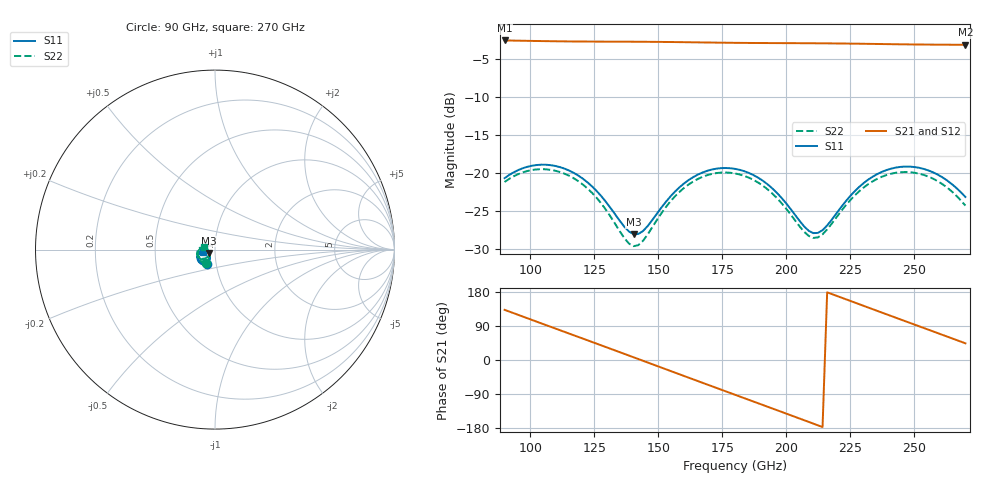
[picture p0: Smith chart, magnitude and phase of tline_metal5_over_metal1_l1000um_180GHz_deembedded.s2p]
! Created with skrf 2.0.1 (http://scikit-rf.org).
# GHz S DB R 50.0
!freq dBS11 angS11 dBS21 angS21 dBS12 angS12 dBS22 angS22
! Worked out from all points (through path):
!   101 points, 90 GHz to 270 GHz, reference 50 ohm
!   highest |S21| = -2.61 dB at 90 GHz (marker M1); lowest = -3.2 dB at 270 GHz (marker M2)
!   group delay of S21, straight-line fit = 6.92 ps
!   lowest |S11| = -28.1 dB at 140.4 GHz (marker M3), VSWR 1.08, Z = 46.6 - j1.75 ohm
!   |S11| at or under -10 dB: start of sweep to end of sweep
!   |S22| runs from -29.7 to -19.5 dB; largest |S21 - S12| = 8.4e-14
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90  -20.72 -117.4  -2.61 132.4  -2.61 132.4  -21.22 -123.3
97.2  -19.40 -129.2  -2.65 114.4  -2.65 114.4  -19.94 -136.2
104.4  -18.95 -142.2  -2.69 96.5  -2.69 96.5  -19.53 -150.2
111.6  -19.26 -155.0  -2.72 78.7  -2.72 78.7  -19.91 -164.0
120.6  -20.80 -168.9  -2.75 56.4  -2.75 56.4  -21.56 -179.2
131.4  -24.64 -175.1  -2.77 29.6  -2.77 29.6  -25.78 173.3
140.4  -28.08 -151.6  -2.78 7.1  -2.78 7.1  -29.66 -159.7
144  -27.69 -136.1  -2.78 -1.9  -2.78 -1.9  -28.98 -142.1
151.2  -24.61 -121.0  -2.80 -19.9  -2.80 -19.9  -25.35 -128.1
165.6  -20.23 -131.8  -2.86 -55.9  -2.86 -55.9  -20.80 -142.3
172.8  -19.47 -142.7  -2.89 -73.8  -2.89 -73.8  -20.05 -154.4
180  -19.49 -154.1  -2.92 -91.7  -2.92 -91.7  -20.10 -166.8
187.2  -20.31 -164.8  -2.94 -109.6  -2.94 -109.6  -20.94 -178.3
194.4  -22.01 -172.8  -2.95 -127.5  -2.95 -127.5  -22.68 172.9
203.4  -25.52 -172.0  -2.97 -149.9  -2.97 -149.9  -26.24 173.2
210.6  -27.95 -150.3  -2.98 -167.9  -2.98 -167.9  -28.58 -165.1
214.2  -27.55 -135.0  -2.99 -176.9  -2.99 -176.9  -28.10 -150.4
225  -23.07 -119.0  -3.02 156.0  -3.02 156.0  -23.62 -136.7
241.2  -19.45 -136.3  -3.10 115.6  -3.10 115.6  -20.12 -156.5
248.4  -19.20 -147.1  -3.13 97.7  -3.13 97.7  -19.93 -168.2
255.6  -19.71 -157.5  -3.15 79.9  -3.15 79.9  -20.52 -179.6
270  -23.19 -169.3  -3.18 44.0  -3.18 44.0  -24.32 166.6
